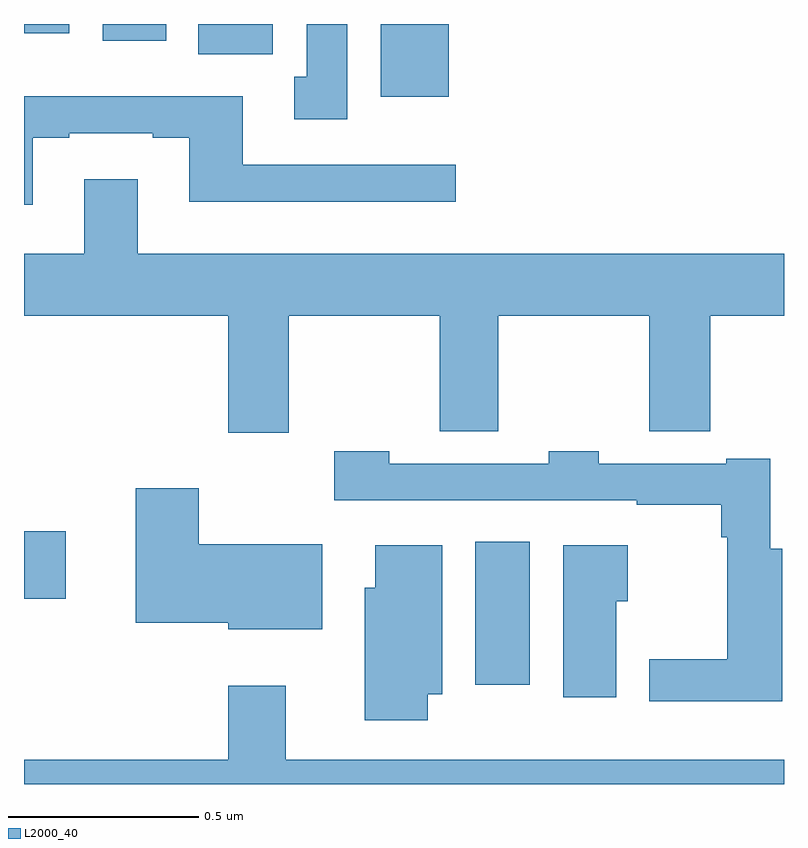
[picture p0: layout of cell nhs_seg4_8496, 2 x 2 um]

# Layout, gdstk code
import gdstk
lib = gdstk.Library(unit=1e-6, precision=1e-09)
def R(c, l, rs):  # rectangles x0, y0, x1, y1
    for r in rs: c.add(gdstk.rectangle(r[:2], r[2:], *l))
def P(c, l, *ps):  # polygons
    for p in ps: c.add(gdstk.Polygon(p, *l))
L2000_40 = (2000, 40)

nhs_seg4_8496 = lib.new_cell('nhs_seg4_8496')
R(nhs_seg4_8496, L2000_40, [(216.188,817.161,216.331,817.537), (215,817.387,215.11,817.565), (215.939,818.708,216.118,818.9), (215.459,818.82,215.655,818.9), (215.207,818.856,215.374,818.9), (215,818.876,215.119,818.9)])
P(nhs_seg4_8496, L2000_40, [(215.851,818.9),(215.744,818.9),(215.744,818.761),(215.711,818.761),(215.711,818.649),(215.851,818.649)],
  [(215.023,818.601),(215.119,818.601),(215.119,818.613),(215.339,818.613),(215.339,818.601),(215.435,818.601),(215.435,818.432),(216.136,818.432),(216.136,818.529),(215.575,818.529),(215.575,818.71),(215,818.71),(215,818.424),(215.023,818.424)],
  [(215.697,818.132),(216.094,818.132),(216.094,817.828),(216.248,817.828),(216.248,818.132),(216.646,818.132),(216.646,817.828),(216.806,817.828),(216.806,818.132),(217,818.132),(217,818.296),(215.299,818.296),(215.299,818.491),(215.159,818.491),(215.159,818.296),(215,818.296),(215,818.132),(215.537,818.132),(215.537,817.824),(215.697,817.824)],
  [(216.996,817.519),(216.964,817.519),(216.964,817.756),(216.848,817.756),(216.848,817.743),(216.513,817.743),(216.513,817.776),(216.381,817.776),(216.381,817.743),(215.961,817.743),(215.961,817.776),(215.817,817.776),(215.817,817.647),(216.613,817.647),(216.613,817.635),(216.835,817.635),(216.835,817.55),(216.85,817.55),(216.85,817.228),(216.645,817.228),(216.645,817.118),(216.996,817.118)],
  [(215.785,817.531),(215.46,817.531),(215.46,817.678),(215.294,817.678),(215.294,817.325),(215.538,817.325),(215.538,817.307),(215.785,817.307)],
  [(216.063,817.136),(216.1,817.136),(216.1,817.528),(215.924,817.528),(215.924,817.416),(215.897,817.416),(215.897,817.068),(216.063,817.068)],
  [(216.559,817.381),(216.589,817.381),(216.589,817.528),(216.419,817.528),(216.419,817.128),(216.559,817.128)],
  [(217,816.964),(215.689,816.964),(215.689,817.159),(215.537,817.159),(215.537,816.964),(215,816.964),(215,816.9),(217,816.9)])

lib.write_gds('nhs_seg4_8496.gds')
